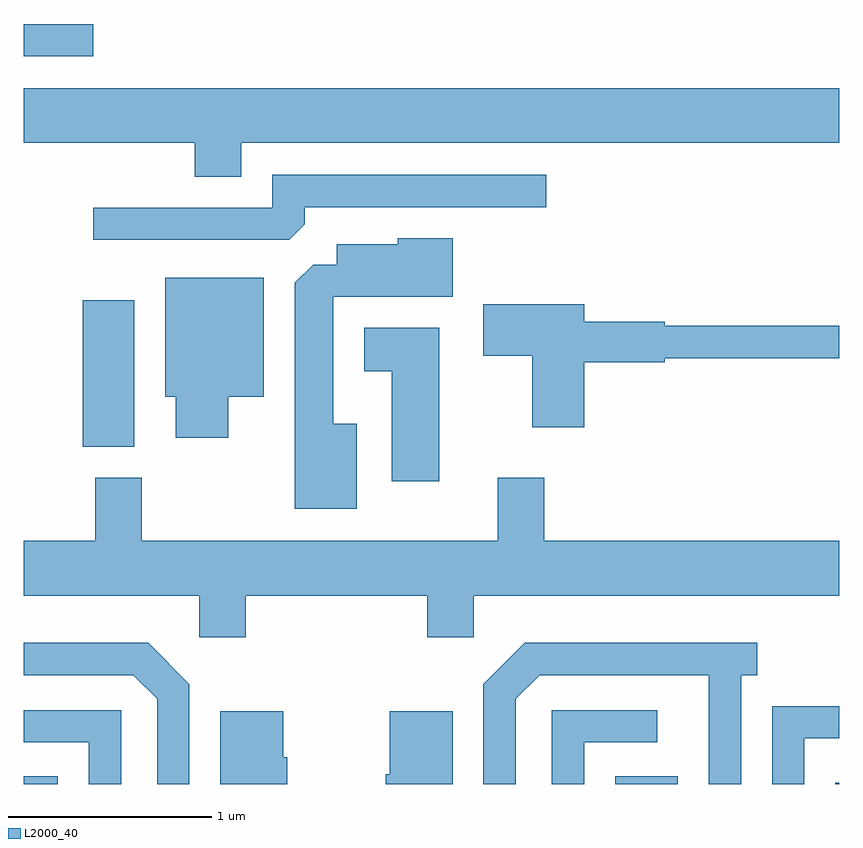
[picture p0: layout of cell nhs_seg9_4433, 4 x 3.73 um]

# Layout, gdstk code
import gdstk
lib = gdstk.Library(unit=1e-6, precision=1e-09)
def R(c, l, rs):  # rectangles x0, y0, x1, y1
    for r in rs: c.add(gdstk.rectangle(r[:2], r[2:], *l))
def P(c, l, *ps):  # polygons
    for p in ps: c.add(gdstk.Polygon(p, *l))
L2000_40 = (2000, 40)

nhs_seg9_4433 = lib.new_cell('nhs_seg9_4433')
R(nhs_seg9_4433, L2000_40, [(315.611,2006.432,315.779,2006.469), (318.511,2006.432,318.819,2006.469), (319.591,2006.432,319.611,2006.439), (315.901,2008.086,316.154,2008.804), (315.611,2010.001,315.953,2010.159)])
P(nhs_seg9_4433, L2000_40, [(316.679,2009.576),(319.611,2009.576),(319.611,2009.844),(315.611,2009.844),(315.611,2009.576),(316.451,2009.576),(316.451,2009.411),(316.679,2009.411)],
  [(316.989,2009.177),(316.989,2009.261),(318.173,2009.261),(318.173,2009.419),(316.831,2009.419),(316.831,2009.259),(315.953,2009.259),(315.953,2009.101),(316.914,2009.101)],
  [(317.244,2008.199),(317.129,2008.199),(317.129,2008.821),(317.714,2008.821),(317.714,2009.109),(317.446,2009.109),(317.446,2009.079),(317.146,2009.079),(317.146,2008.979),(317.032,2008.979),(316.941,2008.889),(316.941,2007.781),(317.244,2007.781)],
  [(316.614,2008.331),(316.789,2008.331),(316.789,2008.914),(316.306,2008.914),(316.306,2008.331),(316.356,2008.331),(316.356,2008.131),(316.614,2008.131)],
  [(318.359,2008.501),(318.754,2008.501),(318.754,2008.521),(319.611,2008.521),(319.611,2008.679),(318.754,2008.679),(318.754,2008.699),(318.359,2008.699),(318.359,2008.784),(317.866,2008.784),(317.866,2008.531),(318.106,2008.531),(318.106,2008.181),(318.359,2008.181)],
  [(317.649,2008.669),(317.281,2008.669),(317.281,2008.456),(317.416,2008.456),(317.416,2007.916),(317.649,2007.916)],
  [(316.699,2007.356),(317.591,2007.356),(317.591,2007.151),(317.819,2007.151),(317.819,2007.356),(319.611,2007.356),(319.611,2007.624),(318.164,2007.624),(318.164,2007.934),(317.936,2007.934),(317.936,2007.624),(316.189,2007.624),(316.189,2007.934),(315.961,2007.934),(315.961,2007.624),(315.611,2007.624),(315.611,2007.356),(316.471,2007.356),(316.471,2007.151),(316.699,2007.151)],
  [(316.424,2006.922),(316.222,2007.124),(315.611,2007.124),(315.611,2006.966),(316.149,2006.966),(316.266,2006.849),(316.266,2006.432),(316.424,2006.432)],
  [(318.024,2006.849),(318.142,2006.966),(318.971,2006.966),(318.971,2006.432),(319.129,2006.432),(319.129,2006.966),(319.208,2006.966),(319.208,2007.124),(318.069,2007.124),(317.866,2006.922),(317.866,2006.432),(318.024,2006.432)],
  [(319.439,2006.656),(319.611,2006.656),(319.611,2006.814),(319.281,2006.814),(319.281,2006.432),(319.439,2006.432)],
  [(316.089,2006.794),(315.611,2006.794),(315.611,2006.636),(315.931,2006.636),(315.931,2006.432),(316.089,2006.432)],
  [(318.359,2006.636),(318.718,2006.636),(318.718,2006.794),(318.201,2006.794),(318.201,2006.432),(318.359,2006.432)],
  [(316.904,2006.564),(316.884,2006.564),(316.884,2006.789),(316.576,2006.789),(316.576,2006.432),(316.904,2006.432)],
  [(317.714,2006.789),(317.406,2006.789),(317.406,2006.479),(317.386,2006.479),(317.386,2006.432),(317.714,2006.432)])

lib.write_gds('nhs_seg9_4433.gds')
